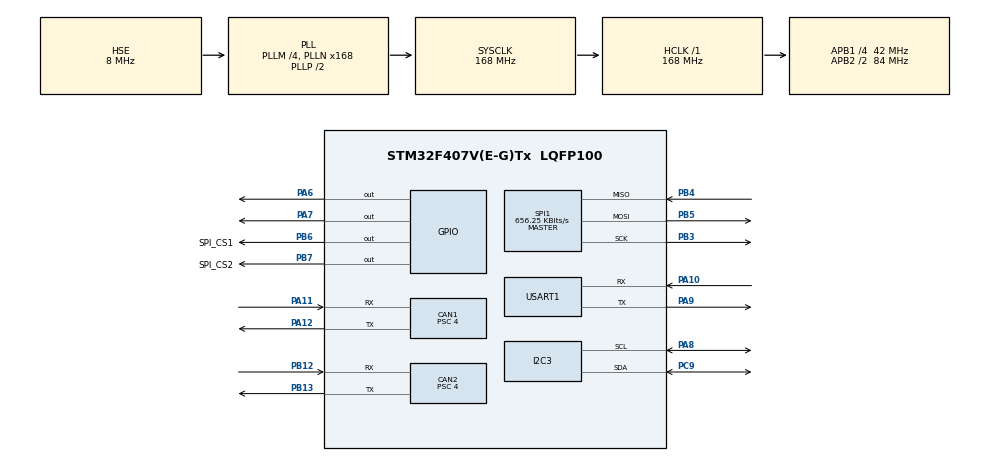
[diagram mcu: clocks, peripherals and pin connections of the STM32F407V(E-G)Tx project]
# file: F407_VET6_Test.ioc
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CAN1.ABOM=ENABLE
CAN1.BS1=CAN_BS1_15TQ
CAN1.BS2=CAN_BS2_5TQ
CAN1.CalculateBaudRate=500000
CAN1.CalculateTimeBit=2000
CAN1.CalculateTimeQuantum=95.23809523809524
CAN1.NART=ENABLE
CAN1.Prescaler=4
CAN2.ABOM=ENABLE
CAN2.BS1=CAN_BS1_15TQ
CAN2.BS2=CAN_BS2_5TQ
CAN2.CalculateBaudRate=500000
CAN2.CalculateTimeBit=2000
CAN2.CalculateTimeQuantum=95.23809523809524
CAN2.NART=ENABLE
CAN2.Prescaler=4
CAN2.SJW=CAN_SJW_1TQ
FREERTOS.Tasks01=Task01,24,512,StartDefaultTask,Default,NULL,Dynamic,NULL,NULL;Task02,32,128,StartTask02,Default,NULL,Dynamic,NULL,NULL;Task03,16,512,StartTask03,Default,NULL,Dynamic,NULL,NULL;Task04,8,256,StartTask04,Default,NULL,Dynamic,NULL,NULL
FREERTOS.configENABLE_FPU=1
Mcu.Family=STM32F4
Mcu.Name=STM32F407V(E-G)Tx
Mcu.Package=LQFP100
NVIC.CAN1_RX0_IRQn=true\:6\:0\:true\:false\:true\:true\:true\:true\:true
NVIC.CAN1_RX1_IRQn=true\:6\:0\:true\:false\:true\:true\:true\:true\:true
NVIC.CAN1_SCE_IRQn=true\:6\:0\:true\:false\:true\:true\:true\:true\:true
NVIC.CAN1_TX_IRQn=true\:6\:0\:true\:false\:true\:true\:true\:true\:true
NVIC.CAN2_RX0_IRQn=true\:7\:0\:true\:false\:true\:true\:true\:true\:true
NVIC.CAN2_RX1_IRQn=true\:7\:0\:true\:false\:true\:true\:true\:true\:true
NVIC.CAN2_SCE_IRQn=true\:7\:0\:true\:false\:true\:true\:true\:true\:true
NVIC.CAN2_TX_IRQn=true\:7\:0\:true\:false\:true\:true\:true\:true\:true
NVIC.PriorityGroup=NVIC_PRIORITYGROUP_4
NVIC.TIM8_TRG_COM_TIM14_IRQn=true\:15\:0\:false\:false\:true\:false\:false\:true\:true
NVIC.TimeBase=TIM8_TRG_COM_TIM14_IRQn
NVIC.TimeBaseIP=TIM14
NVIC.USART1_IRQn=true\:5\:0\:false\:false\:true\:true\:true\:true\:true
PA10.Mode=Asynchronous
PA10.Signal=USART1_RX
PA11.Mode=CAN_Activate
PA11.Signal=CAN1_RX
PA12.Mode=CAN_Activate
PA12.Signal=CAN1_TX
PA13.Mode=Serial_Wire
PA13.Signal=SYS_JTMS-SWDIO
PA14.Mode=Serial_Wire
PA14.Signal=SYS_JTCK-SWCLK
PA6.Signal=GPIO_Output
PA7.Signal=GPIO_Output
PA8.Mode=I2C
PA8.Signal=I2C3_SCL
PA9.Mode=Asynchronous
PA9.Signal=USART1_TX
PB12.Mode=CAN_Activate
PB12.Signal=CAN2_RX
PB13.Mode=CAN_Activate
PB13.Signal=CAN2_TX
PB3.Mode=Full_Duplex_Master
PB3.Signal=SPI1_SCK
PB4.Mode=Full_Duplex_Master
PB4.Signal=SPI1_MISO
PB5.Mode=Full_Duplex_Master
PB5.Signal=SPI1_MOSI
PB6.GPIO_Label=SPI_CS1
PB6.Signal=GPIO_Output
PB7.GPIO_Label=SPI_CS2
PB7.Signal=GPIO_Output
PC14-OSC32_IN.Mode=LSE-External-Oscillator
PC14-OSC32_IN.Signal=RCC_OSC32_IN
PC15-OSC32_OUT.Mode=LSE-External-Oscillator
PC15-OSC32_OUT.Signal=RCC_OSC32_OUT
PC9.Mode=I2C
PC9.Signal=I2C3_SDA
PH0-OSC_IN.Mode=HSE-External-Oscillator
PH0-OSC_IN.Signal=RCC_OSC_IN
PH1-OSC_OUT.Mode=HSE-External-Oscillator
PH1-OSC_OUT.Signal=RCC_OSC_OUT
ProjectManager.HeapSize=0x200
ProjectManager.StackSize=0x400
ProjectManager.TargetToolchain=MDK-ARM V5.32
RCC.48MHZClocksFreq_Value=84000000
RCC.AHBFreq_Value=168000000
RCC.APB1CLKDivider=RCC_HCLK_DIV4
RCC.APB1Freq_Value=42000000
RCC.APB1TimFreq_Value=84000000
RCC.APB2CLKDivider=RCC_HCLK_DIV2
RCC.APB2Freq_Value=84000000
RCC.APB2TimFreq_Value=168000000
RCC.CortexFreq_Value=168000000
RCC.HCLKFreq_Value=168000000
RCC.HSE_VALUE=8000000
RCC.HSI_VALUE=16000000
RCC.PLLM=4
RCC.PLLN=168
RCC.PLLSourceVirtual=RCC_PLLSOURCE_HSE
RCC.RCC_RTC_Clock_Source=RCC_RTCCLKSOURCE_LSE
RCC.RCC_RTC_Clock_SourceVirtual=RCC_RTCCLKSOURCE_LSE
RCC.SYSCLKFreq_VALUE=168000000
RCC.SYSCLKSource=RCC_SYSCLKSOURCE_PLLCLK
RCC.VCOOutputFreq_Value=336000000
SPI1.BaudRatePrescaler=SPI_BAUDRATEPRESCALER_128
SPI1.CLKPhase=SPI_PHASE_2EDGE
SPI1.CLKPolarity=SPI_POLARITY_HIGH
SPI1.CalculateBaudRate=656.25 KBits/s
SPI1.Direction=SPI_DIRECTION_2LINES
SPI1.Mode=SPI_MODE_MASTER
SPI1.VirtualType=VM_MASTER
USART1.VirtualMode=VM_ASYNC
VP_FREERTOS_VS_CMSIS_V2.Mode=CMSIS_V2
VP_RTC_VS_RTC_Activate.Mode=RTC_Enabled
VP_RTC_VS_RTC_Calendar.Mode=RTC_Calendar
VP_SYS_VS_tim14.Mode=TIM14
board=custom

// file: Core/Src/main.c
/* USER CODE BEGIN Header */
/**
  ******************************************************************************
  * @file           : main.c
  * @brief          : Main program body
  ******************************************************************************
  * @attention
  *
  * Copyright (c) 2026 STMicroelectronics.
  * All rights reserved.
  *
  * This software is licensed under terms that can be found in the LICENSE file
  * in the root directory of this software component.
  * If no LICENSE file comes with this software, it is provided AS-IS.
  *
  ******************************************************************************
  */
/* USER CODE END Header */
#include "main.h"
#include "cmsis_os.h"
#include "can.h"
#include "i2c.h"
#include "rtc.h"
#include "spi.h"
#include "usart.h"
#include "gpio.h"

/* USER CODE BEGIN Includes */
#include <stdio.h>
#include <string.h>
#include "bms_hardware.h"
#include "F103_0804_simulink_model.h"
/* USER CODE END Includes */

/* USER CODE BEGIN PD */
#define HEARTBEAT_PERIOD_MS  200U
#define SMOKE_STATS_PERIOD_MS 1000U

/* AT24C256: 32KB, 16-bit word address. HAL DevAddress is 8-bit write addr. */
#define AT24C256_DEV_ADDR    0xA0U
#define AT24C256_TEST_ADDR   0x0000U
/* USER CODE END PD */

/* USER CODE BEGIN PV */
static uint32_t s_last_heartbeat_ms;
static uint32_t s_last_stats_ms;
static uint32_t s_prev_can1_ok;
static uint32_t s_prev_can1_fail;
static uint32_t s_prev_can2_ok;
static uint32_t s_prev_can2_fail;
/* USER CODE END PV */

void SystemClock_Config(void);
void MX_FREERTOS_Init(void);

/* USER CODE BEGIN 0 */
static void Uart_Print(const char *s)
{
  (void)HAL_UART_Transmit(&huart1, (uint8_t *)s, (uint16_t)strlen(s), 50U);
}

static void SmokeStats_Process(void)
{
  uint32_t now = HAL_GetTick();
  uint32_t can1_ok;
  uint32_t can1_fail;
  uint32_t can2_ok;
  uint32_t can2_fail;
  char line[96];

  if ((now - s_last_stats_ms) < SMOKE_STATS_PERIOD_MS)
  {
    return;
  }
  s_last_stats_ms = now;

  CAN_SmokeTest_GetStats(&can1_ok, &can1_fail, &can2_ok, &can2_fail);
  (void)snprintf(line, sizeof(line),
                 "CAN smoke fps: CAN1 %lu fail+%lu | CAN2 %lu fail+%lu\r\n",
                 (unsigned long)(can1_ok - s_prev_can1_ok),
                 (unsigned long)(can1_fail - s_prev_can1_fail),
                 (unsigned long)(can2_ok - s_prev_can2_ok),
                 (unsigned long)(can2_fail - s_prev_can2_fail));
  s_prev_can1_ok = can1_ok;
  s_prev_can1_fail = can1_fail;
  s_prev_can2_ok = can2_ok;
  s_prev_can2_fail = can2_fail;
  Uart_Print(line);
}

static void Heartbeat_Process(void)
{
  uint32_t now = HAL_GetTick();

  if ((now - s_last_heartbeat_ms) < HEARTBEAT_PERIOD_MS)
  {
    return;
  }
  s_last_heartbeat_ms = now;
  HAL_GPIO_TogglePin(GPIOA, GPIO_PIN_6);
  HAL_GPIO_TogglePin(GPIOA, GPIO_PIN_7);
}

static void AT24C256_SmokeTest(void)
{
  uint8_t wr = 0xAAU;
  uint8_t rd = 0x00U;
  HAL_StatusTypeDef st;

  st = HAL_I2C_IsDeviceReady(&hi2c3, AT24C256_DEV_ADDR, 8U, 50U);
  if (st != HAL_OK)
  {
    Uart_Print("AT24 NACK (check WP/A2A1A0/pullup)\r\n");
    return;
  }

  st = HAL_I2C_Mem_Write(&hi2c3, AT24C256_DEV_ADDR, AT24C256_TEST_ADDR,
                         I2C_MEMADD_SIZE_16BIT, &wr, 1U, 100U);
  if (st != HAL_OK)
  {
    Uart_Print("AT24 write fail\r\n");
    return;
  }

  /* Internal write cycle ~5ms; poll ACK instead of a blind delay. */
  st = HAL_I2C_IsDeviceReady(&hi2c3, AT24C256_DEV_ADDR, 40U, 5U);
  if (st != HAL_OK)
  {
    Uart_Print("AT24 write cycle timeout\r\n");
    return;
  }

  st = HAL_I2C_Mem_Read(&hi2c3, AT24C256_DEV_ADDR, AT24C256_TEST_ADDR,
                        I2C_MEMADD_SIZE_16BIT, &rd, 1U, 100U);
  if (st != HAL_OK)
  {
    Uart_Print("AT24 read fail\r\n");
    return;
  }

  if (rd == wr)
  {
    Uart_Print("AT24 OK\r\n");
  }
  else
  {
    Uart_Print("AT24 NOT OK\r\n");
  }
}
/* USER CODE END 0 */

int main(void)
{

  /* MCU Configuration--------------------------------------------------------*/

  /* Reset of all peripherals, Initializes the Flash interface and the Systick. */
  HAL_Init();

  /* USER CODE BEGIN Init */
  /* Bootloader jumps with PRIMASK=1; HAL_Delay/SysTick need IRQs enabled. */
  __enable_irq();
  /* USER CODE END Init */

  /* Configure the system clock */
  SystemClock_Config();

  /* Initialize all configured peripherals */
  MX_GPIO_Init();
  MX_RTC_Init();
  MX_USART1_UART_Init();
  MX_CAN1_Init();
  MX_CAN2_Init();
  MX_I2C3_Init();
  MX_SPI1_Init();
  /* USER CODE BEGIN 2 */
  HAL_GPIO_WritePin(GPIOA, GPIO_PIN_6, GPIO_PIN_RESET);
  HAL_GPIO_WritePin(GPIOA, GPIO_PIN_7, GPIO_PIN_SET);
  /* SPI CS idle high (Cube MX_GPIO_Init leaves RESET) */
  HAL_GPIO_WritePin(SPI_CS1_GPIO_Port, SPI_CS1_Pin, GPIO_PIN_SET);
  HAL_GPIO_WritePin(SPI_CS2_GPIO_Port, SPI_CS2_Pin, GPIO_PIN_SET);

  bms_hardware_init();
  CAN_UserInit();
  F103_0804_simulink_model_initialize();

  Uart_Print("F407 APP: BMS+RTOS; CAN2 0x700 -> BL\r\n");
  AT24C256_SmokeTest();
  /* USER CODE END 2 */

  /* Init scheduler */
  osKernelInitialize();  /* Call init function for freertos objects (in cmsis_os2.c) */
  MX_FREERTOS_Init();

  /* Start scheduler */
  osKernelStart();

  /* We should never get here as control is now taken by the scheduler */

  /* Infinite loop */
  while (1)
  {

    /* USER CODE BEGIN 3 */
    /* Scheduler should never return; keep empty if it does. */
  }
  /* USER CODE END 3 */
}

void SystemClock_Config(void)
{
  RCC_OscInitTypeDef RCC_OscInitStruct = {0};
  RCC_ClkInitTypeDef RCC_ClkInitStruct = {0};

  /** Configure the main internal regulator output voltage
  */
  __HAL_RCC_PWR_CLK_ENABLE();
  __HAL_PWR_VOLTAGESCALING_CONFIG(PWR_REGULATOR_VOLTAGE_SCALE1);

  /** Initializes the RCC Oscillators according to the specified parameters
  * in the RCC_OscInitTypeDef structure.
  */
  RCC_OscInitStruct.OscillatorType = RCC_OSCILLATORTYPE_HSE|RCC_OSCILLATORTYPE_LSE;
  RCC_OscInitStruct.HSEState = RCC_HSE_ON;
  RCC_OscInitStruct.LSEState = RCC_LSE_ON;
  RCC_OscInitStruct.PLL.PLLState = RCC_PLL_ON;
  RCC_OscInitStruct.PLL.PLLSource = RCC_PLLSOURCE_HSE;
  RCC_OscInitStruct.PLL.PLLM = 4;
  RCC_OscInitStruct.PLL.PLLN = 168;
  RCC_OscInitStruct.PLL.PLLP = RCC_PLLP_DIV2;
  RCC_OscInitStruct.PLL.PLLQ = 4;
  if (HAL_RCC_OscConfig(&RCC_OscInitStruct) != HAL_OK)
  {
    Error_Handler();
  }

  /** Initializes the CPU, AHB and APB buses clocks
  */
  RCC_ClkInitStruct.ClockType = RCC_CLOCKTYPE_HCLK|RCC_CLOCKTYPE_SYSCLK
                              |RCC_CLOCKTYPE_PCLK1|RCC_CLOCKTYPE_PCLK2;
  RCC_ClkInitStruct.SYSCLKSource = RCC_SYSCLKSOURCE_PLLCLK;
  RCC_ClkInitStruct.AHBCLKDivider = RCC_SYSCLK_DIV1;
  RCC_ClkInitStruct.APB1CLKDivider = RCC_HCLK_DIV4;
  RCC_ClkInitStruct.APB2CLKDivider = RCC_HCLK_DIV2;

  if (HAL_RCC_ClockConfig(&RCC_ClkInitStruct, FLASH_LATENCY_5) != HAL_OK)
  {
    Error_Handler();
  }
}

void HAL_TIM_PeriodElapsedCallback(TIM_HandleTypeDef *htim)
{
  if (htim->Instance == TIM14)
  {
    HAL_IncTick();
  }
}

void Error_Handler(void)
{
  __disable_irq();
  while (1)
  {
  }
}

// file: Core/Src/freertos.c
/* USER CODE BEGIN Header */
/**
  ******************************************************************************
  * File Name          : freertos.c
  * Description        : Code for freertos applications
  ******************************************************************************
  * @attention
  *
  * Copyright (c) 2026 STMicroelectronics.
  * All rights reserved.
  *
  * This software is licensed under terms that can be found in the LICENSE file
  * in the root directory of this software component.
  * If no LICENSE file comes with this software, it is provided AS-IS.
  *
  ******************************************************************************
  */
/* USER CODE END Header */

#include "FreeRTOS.h"
#include "task.h"
#include "main.h"
#include "cmsis_os.h"

/* USER CODE BEGIN Includes */
#include "F103_0804_simulink_model.h"
#include "rtwtypes.h"
#include "can.h"
#include "rtc.h"
#include "usart.h"
#include <stdio.h>
#include <string.h>
/* USER CODE END Includes */

/* USER CODE BEGIN PD */
#define CAN_TEST_STD_ID   0x123U
#define CAN_TEST_DLC      8U
/* USER CODE END PD */

/* Definitions for Task01 */
osThreadId_t Task01Handle;
const osThreadAttr_t Task01_attributes = {
  .name = "Task01",
  .stack_size = 512 * 4,
  .priority = (osPriority_t) osPriorityNormal,
};
/* Definitions for Task02 */
osThreadId_t Task02Handle;
const osThreadAttr_t Task02_attributes = {
  .name = "Task02",
  .stack_size = 128 * 4,
  .priority = (osPriority_t) osPriorityLow,
};
/* Definitions for Task03 */
osThreadId_t Task03Handle;
const osThreadAttr_t Task03_attributes = {
  .name = "Task03",
  .stack_size = 512 * 4,
  .priority = (osPriority_t) osPriorityAboveNormal,
};
/* Definitions for Task04 */
osThreadId_t Task04Handle;
const osThreadAttr_t Task04_attributes = {
  .name = "Task04",
  .stack_size = 256 * 4,
  .priority = (osPriority_t) osPriorityLow,
};

void StartDefaultTask(void *argument);
void StartTask02(void *argument);
void StartTask03(void *argument);
void StartTask04(void *argument);

void MX_FREERTOS_Init(void); /* (MISRA C 2004 rule 8.1) */

void MX_FREERTOS_Init(void) {
  /* USER CODE BEGIN Init */
  MyCAN_InitTxIT();
  MyUART_InitTxIT();
  /* USER CODE END Init */

  /* Create the thread(s) */
  /* creation of Task01 */
  Task01Handle = osThreadNew(StartDefaultTask, NULL, &Task01_attributes);

  /* creation of Task02 */
  Task02Handle = osThreadNew(StartTask02, NULL, &Task02_attributes);

  /* creation of Task03 */
  Task03Handle = osThreadNew(StartTask03, NULL, &Task03_attributes);

  /* creation of Task04 */
  Task04Handle = osThreadNew(StartTask04, NULL, &Task04_attributes);

}

void StartDefaultTask(void *argument)
{
  /* USER CODE BEGIN StartDefaultTask */
  for (;;)
  {
    Sample_function_call();
    osDelay(10);
  }
  /* USER CODE END StartDefaultTask */
}

void StartTask02(void *argument)
{
  /* USER CODE BEGIN StartTask02 */
  for(;;)
  {
    LED_function_call();
    osDelay(10);
  }
  /* USER CODE END StartTask02 */
}

void StartTask03(void *argument)
{
  /* USER CODE BEGIN StartTask03 */
  CAN_TxHeaderTypeDef tx_hdr;
  uint8_t tx_data[8] = {0x01U, 0x02U, 0x03U, 0x04U, 0x05U, 0x06U, 0x07U, 0x08U};
  uint32_t tick;

  tx_hdr.StdId = CAN_TEST_STD_ID;
  tx_hdr.ExtId = 0U;
  tx_hdr.IDE = CAN_ID_STD;
  tx_hdr.RTR = CAN_RTR_DATA;
  tx_hdr.DLC = CAN_TEST_DLC;
  tx_hdr.TransmitGlobalTime = DISABLE;

  tick = osKernelGetTickCount();
  for (;;)
  {
    (void)MyCAN_Transmit(&tx_hdr, tx_data);
    tick += 10U;
    (void)osDelayUntil(tick);
  }
  /* USER CODE END StartTask03 */
}

void StartTask04(void *argument)
{
  /* USER CODE BEGIN StartTask04 */
  RTC_TimeTypeDef rtc_time = {0};
  RTC_DateTypeDef rtc_date = {0};
  char line[96];
  uint8_t last_sec = 0xFFU;
  uint32_t total_sec;

  for (;;)
  {
    RTC_GetDateTime(&rtc_time, &rtc_date);
    if (rtc_time.Seconds != last_sec)
    {
      last_sec = rtc_time.Seconds;
      total_sec = RTC_GetTotalSeconds();
      (void)snprintf(line, sizeof(line),
                     "RTC %04lu-%02u-%02u %02u:%02u:%02u uptime=%lus\r\n",
                     (unsigned long)(2000U + rtc_date.Year),
                     (unsigned int)rtc_date.Month,
                     (unsigned int)rtc_date.Date,
                     (unsigned int)rtc_time.Hours,
                     (unsigned int)rtc_time.Minutes,
                     (unsigned int)rtc_time.Seconds,
                     (unsigned long)total_sec);
      (void)MyUART_Transmit((const uint8_t *)line, (uint16_t)strlen(line));
    }
    osDelay(10);
  }
  /* USER CODE END StartTask04 */
}
